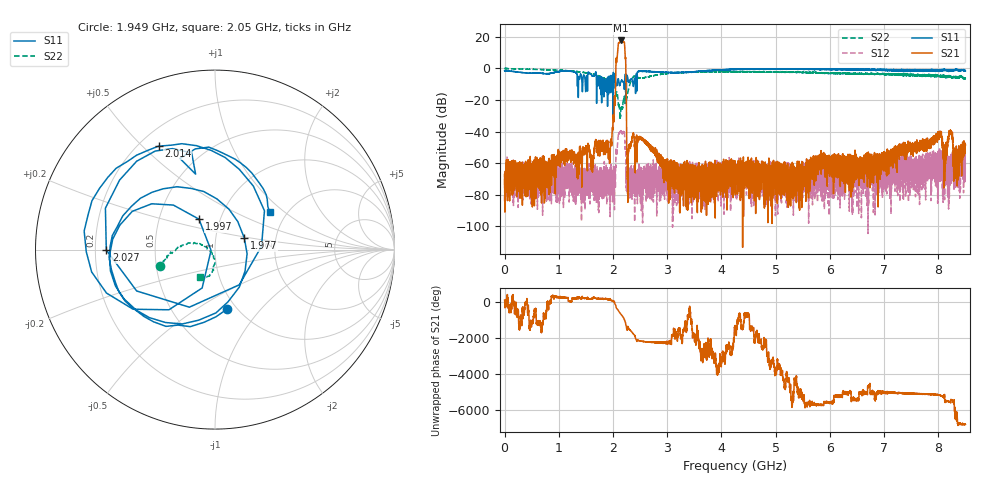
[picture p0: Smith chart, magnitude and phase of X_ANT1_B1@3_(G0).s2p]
#  HZ  S  RI  R  50.00
! Rohde & Schwarz Vector Network Analyzer
! Rohde-Schwarz,ZNBT8-20Port,1318700624101681,3.50
! Created: UTC 7/15/2025, 2:08:24 PM
! freq[Hz]  re:S1010  im:S1010  re:S0310  im:S0310  re:S1003  im:S1003  re:S33  im:S33
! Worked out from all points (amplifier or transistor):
!   8500 points, 1 MHz to 8.5 GHz, reference 50 ohm
!   highest |S21| = 17.5 dB at 2.144 GHz (marker M1)
!   |S21| within 3 dB of that: 2.095 GHz to 2.215 GHz (119.5 MHz wide, 5.55 % of centre)
!   unconditionally stable (mu >= 1): start of sweep to end of sweep
!   at 1.417 GHz: K = 325156.07, MAG = -52.5 dB, |S12| = -69.0 dB
!   at 4.251 GHz: K = 95681.57, MAG = -53.0 dB, |S12| = -64.7 dB
!   at 8.5 GHz: K = 34152.49, MAG = -42.6 dB, |S12| = -59.8 dB
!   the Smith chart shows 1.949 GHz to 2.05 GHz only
!   S11 on the Smith chart (normalised r, x): 1.949 GHz: 0.91, -0.68; 1.977 GHz: 1.38, +0.18; 1.997 GHz: 0.79, +0.28; 2.014 GHz: 0.28, +0.56; 2.027 GHz: 0.25, -0.00; 2.05 GHz: 1.63, +0.80
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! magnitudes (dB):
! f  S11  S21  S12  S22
! 1 MHz  -1.6  -75.1  -80.6  -0.3
! 1.418 GHz  -5.1  -58.4  -72.1  -2.5
! 1.949 GHz  -9.4  -50.9  -71.2  -9.9
! 1.977 GHz  -15.1  -46.8  -72.6  -12.5
! 1.997 GHz  -14.4  -37.7  -69.5  -16.8
! 2.014 GHz  -3.7  -33.2  -62.5  -29.0
! 2.027 GHz  -4.4  -17.4  -89.4  -21.9
! 2.05 GHz  -8.6  -6.8  -60.4  -15.1
! 2.144 GHz  -8.6  17.5  -39.9  -28.2
! 2.205 GHz  -10.8  16.4  -41.0  -19.3
! 2.293 GHz  -8.5  -49.2  -69.6  -12.6
! 2.513 GHz  -1.9  -44.8  -74.8  -6.1
! 2.834 GHz  -2.5  -54.4  -69.2  -4.1
! 3.532 GHz  -2.1  -65.1  -71.2  -2.5
! 4.251 GHz  -0.7  -65.0  -64.7  -2.2
! 5.667 GHz  -0.4  -61.6  -60.5  -2.8
! 7.084 GHz  -1.1  -66.9  -64.9  -3.8
! 8.023 GHz  -1.4  -41.1  -50.0  -4.8
! 8.128 GHz  -1.2  -58.5  -67.7  -5.3
! 8.222 GHz  -1.4  -39.1  -63.7  -5.3
! 8.325 GHz  -1.2  -51.3  -55.7  -5.6
! 8.5 GHz  -1.8  -48.4  -59.8  -6.5
